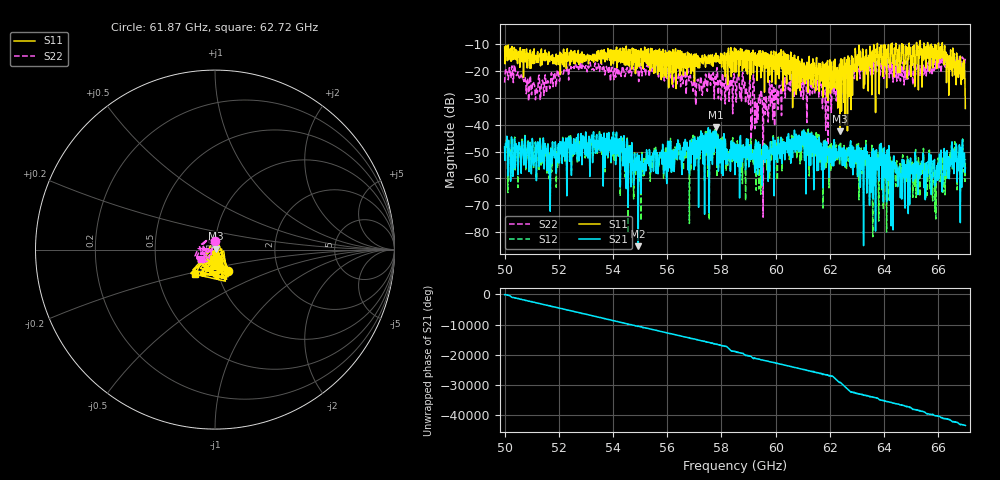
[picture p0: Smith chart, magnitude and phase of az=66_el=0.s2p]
!Created with skrf (http://scikit-rf.org).
# GHz S RI R 50.0
!freq ReS11 ImS11 ReS21 ImS21 ReS12 ImS12 ReS22 ImS22
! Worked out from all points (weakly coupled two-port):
!   1001 points, 50 GHz to 67 GHz, reference 50 ohm
!   highest |S21| = -41.03 dB at 57.8 GHz (marker M1); lowest = -85.2 dB at 54.93 GHz (marker M2)
!   lowest |S11| = -42.5 dB at 62.38 GHz (marker M3), VSWR 1.02, Z = 50.4 + j0.604 ohm
!   |S11| at or under -10 dB: start of sweep to 63.75 GHz; 63.75 GHz to 64.3 GHz (541.5 MHz wide, 0.846 % of centre); 66.15 GHz to end of sweep (the widest 3 of 12)
!   |S22| runs from -74.4 to -14.0 dB; largest |S21 - S12| = 0.0019
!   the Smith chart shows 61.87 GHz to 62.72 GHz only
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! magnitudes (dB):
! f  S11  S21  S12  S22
! 50 GHz  -11.1  -48.2  -48.2  -24.4
! 51.14 GHz  -14.3  -46.5  -46.4  -30.7
! 52.84 GHz  -14.8  -46.1  -45.5  -19.7
! 54.1 GHz  -16.1  -54.8  -53.9  -22.3
! 54.93 GHz  -14.3  -85.2  -66.4  -22.0
! 55.68 GHz  -14.3  -54.6  -52.2  -22.3
! 57.8 GHz  -13.4  -41.0  -41.7  -25.2
! 58.5 GHz  -20.5  -58.6  -54.7  -23.9
! 59.61 GHz  -13.4  -54.0  -48.3  -33.6
! 59.84 GHz  -12.7  -50.6  -53.7  -25.8
! 60.34 GHz  -13.5  -53.1  -53.2  -25.0
! 61.34 GHz  -23.2  -50.4  -51.8  -25.6
! 61.88 GHz  -29.5  -46.4  -48.1  -23.3
! 62.38 GHz  -42.5  -50.7  -48.6  -18.6
! 63.01 GHz  -23.5  -48.0  -52.1  -20.0
! 63.45 GHz  -15.7  -51.3  -51.0  -19.9
! 64.18 GHz  -17.1  -47.8  -47.7  -18.7
! 65.42 GHz  -12.2  -56.6  -58.1  -21.8
! 65.83 GHz  -11.7  -53.9  -57.1  -19.5
! 66.08 GHz  -15.5  -51.8  -53.6  -15.8
! 66.88 GHz  -23.1  -46.6  -48.3  -14.8
! 67 GHz  -34.0  -56.2  -52.8  -15.5
